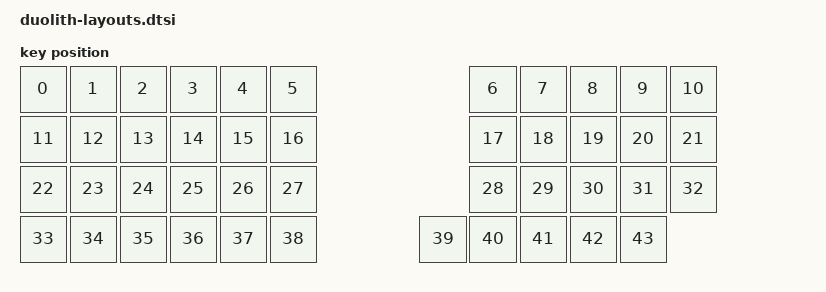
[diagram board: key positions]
#include <physical_layouts.dtsi>

/ {
    default_layout: default_layout {
        compatible = "zmk,physical-layout";
        display-name = "Default Layout";
        transform = <&default_transform>;
        kscan = <&kscan>;

        keys  //                                             w   h    x     y    rot   rx   ry
            // Row 0: Left (6 cols: 5 keys + gap), Right (5 cols)
            = <&key_physical_attrs                           100 100     0     0      0     0    0>  // SW1  (L c0)
            , <&key_physical_attrs                           100 100   100     0      0     0    0>  // SW2  (L c1)
            , <&key_physical_attrs                           100 100   200     0      0     0    0>  // SW3  (L c2)
            , <&key_physical_attrs                           100 100   300     0      0     0    0>  // SW4  (L c3)
            , <&key_physical_attrs                           100 100   400     0      0     0    0>  // SW5  (L c4)
            , <&key_physical_attrs                           100 100   500     0      0     0    0>  // GAP  (L c5 filler)
            , <&key_physical_attrs                           100 100   900     0      0     0    0>  // SW22 (R c0, base 800 + x:1)
            , <&key_physical_attrs                           100 100  1000     0      0     0    0>  // SW23 (R c1)
            , <&key_physical_attrs                           100 100  1100     0      0     0    0>  // SW24 (R c2)
            , <&key_physical_attrs                           100 100  1200     0      0     0    0>  // SW25 (R c3)
            , <&key_physical_attrs                           100 100  1300     0      0     0    0>  // SW26 (R c4)

            // Row 1
            , <&key_physical_attrs                           100 100     0   100      0     0    0>  // SW6  (L c0)
            , <&key_physical_attrs                           100 100   100   100      0     0    0>  // SW7  (L c1)
            , <&key_physical_attrs                           100 100   200   100      0     0    0>  // SW8  (L c2)
            , <&key_physical_attrs                           100 100   300   100      0     0    0>  // SW9  (L c3)
            , <&key_physical_attrs                           100 100   400   100      0     0    0>  // SW10 (L c4)
            , <&key_physical_attrs                           100 100   500   100      0     0    0>  // GAP  (L c5 filler)
            , <&key_physical_attrs                           100 100   900   100      0     0    0>  // SW27 (R c0, base 800 + x:1)
            , <&key_physical_attrs                           100 100  1000   100      0     0    0>  // SW28 (R c1)
            , <&key_physical_attrs                           100 100  1100   100      0     0    0>  // SW29 (R c2)
            , <&key_physical_attrs                           100 100  1200   100      0     0    0>  // SW30 (R c3)
            , <&key_physical_attrs                           100 100  1300   100      0     0    0>  // SW31 (R c4)

            // Row 2
            , <&key_physical_attrs                           100 100     0   200      0     0    0>  // SW11 (L c0)
            , <&key_physical_attrs                           100 100   100   200      0     0    0>  // SW12 (L c1)
            , <&key_physical_attrs                           100 100   200   200      0     0    0>  // SW13 (L c2)
            , <&key_physical_attrs                           100 100   300   200      0     0    0>  // SW14 (L c3)
            , <&key_physical_attrs                           100 100   400   200      0     0    0>  // SW15 (L c4)
            , <&key_physical_attrs                           100 100   500   200      0     0    0>  // GAP  (L c5 filler)
            , <&key_physical_attrs                           100 100   900   200      0     0    0>  // SW32 (R c0, base 800 + x:1)
            , <&key_physical_attrs                           100 100  1000   200      0     0    0>  // SW33 (R c1)
            , <&key_physical_attrs                           100 100  1100   200      0     0    0>  // SW34 (R c2)
            , <&key_physical_attrs                           100 100  1200   200      0     0    0>  // SW35 (R c3)
            , <&key_physical_attrs                           100 100  1300   200      0     0    0>  // SW36 (R c4)

            // Row 3
            , <&key_physical_attrs                           100 100     0   300      0     0    0>  // SW16 (L c0)
            , <&key_physical_attrs                           100 100   100   300      0     0    0>  // SW17 (L c1)
            , <&key_physical_attrs                           100 100   200   300      0     0    0>  // SW18 (L c2)
            , <&key_physical_attrs                           100 100   300   300      0     0    0>  // SW19 (L c3)
            , <&key_physical_attrs                           100 100   400   300      0     0    0>  // SW20 (L c4)
            , <&key_physical_attrs                           100 100   500   300      0     0    0>  // SW21 (L c5)
            , <&key_physical_attrs                           100 100   800   300      0     0    0>  // SW37 (R c0, base 800)
            , <&key_physical_attrs                           100 100   900   300      0     0    0>  // SW38 (R c1)
            , <&key_physical_attrs                           100 100  1000   300      0     0    0>  // GAP  (R c2 filler, x:2 gap)
            , <&key_physical_attrs                           100 100  1100   300      0     0    0>  // SW39 (R c3)
            , <&key_physical_attrs                           100 100  1200   300      0     0    0>  // SW40 (R c4)
            ;
    };
};
